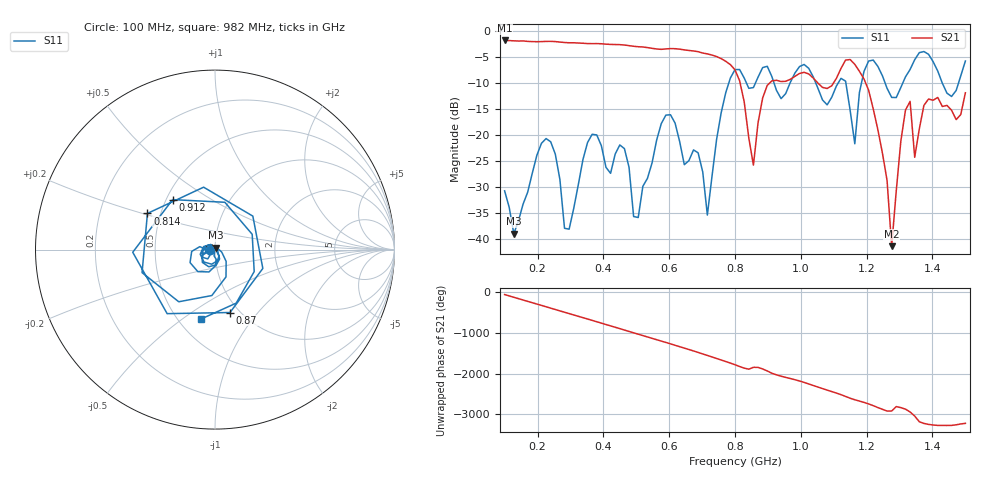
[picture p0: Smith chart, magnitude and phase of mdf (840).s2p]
! NanoVNA-App
! Date: 2025-09-25 15:44:57
! Start: 100MHz Stop: 1,5GHz Points: 101
! S-Parameter data: F S11 S21 S12 S22
# Hz S RI R 50
!  Frequency  S11_Real  S11_Imag  S21_Real  S21_Imag  S12_Real  S12_Imag  S22_Real  S22_Imag
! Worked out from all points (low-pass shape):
!   101 points, 100 MHz to 1.5 GHz, reference 50 ohm
!   highest |S21| = -1.80 dB at 100 MHz (marker M1); lowest = -41.4 dB at 1.276 GHz (marker M2)
!   |S21| within 3 dB of the highest: start of sweep to 739.3 MHz
!   lowest |S11| = -39.0 dB at 128 MHz (marker M3), VSWR 1.02, Z = 50.3 + j1.08 ohm
!   |S11| at or under -10 dB: start of sweep to 781.1 MHz; 1.045 GHz to 1.113 GHz (67.93 MHz wide, 6.29 % of centre); 1.256 GHz to 1.31 GHz (53.55 MHz wide, 4.17 % of centre)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
!   S12 and S22 are empty: the file has one direction only
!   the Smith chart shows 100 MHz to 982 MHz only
!   S11 on the Smith chart (normalised r, x): 100 MHz: 0.94, -0.01; 814 MHz: 0.42, +0.21; 870 MHz: 0.90, -0.73; 912 MHz: 0.54, +0.35; 982 MHz: 0.64, -0.59
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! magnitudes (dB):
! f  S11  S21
! 100 MHz  -30.7  -1.8
! 128 MHz  -39.0  -1.9
! 212 MHz  -21.6  -2.0
! 282 MHz  -37.9  -2.2
! 338 MHz  -24.7  -2.3
! 464 MHz  -22.6  -2.7
! 506 MHz  -35.9  -3.0
! 576 MHz  -17.8  -3.5
! 716 MHz  -35.4  -4.4
! 800 MHz  -7.4  -7.4
! 814 MHz  -7.4  -9.6
! 856 MHz  -10.9  -25.8
! 870 MHz  -8.9  -17.7
! 912 MHz  -8.7  -9.6
! 982 MHz  -8.1  -8.7
! 1.038 GHz  -8.8  -9.0
! 1.164 GHz  -21.7  -6.4
! 1.192 GHz  -7.7  -9.2
! 1.276 GHz  -12.8  -41.4
! 1.318 GHz  -8.8  -15.2
! 1.346 GHz  -5.5  -24.3
! 1.5 GHz  -5.8  -11.9
